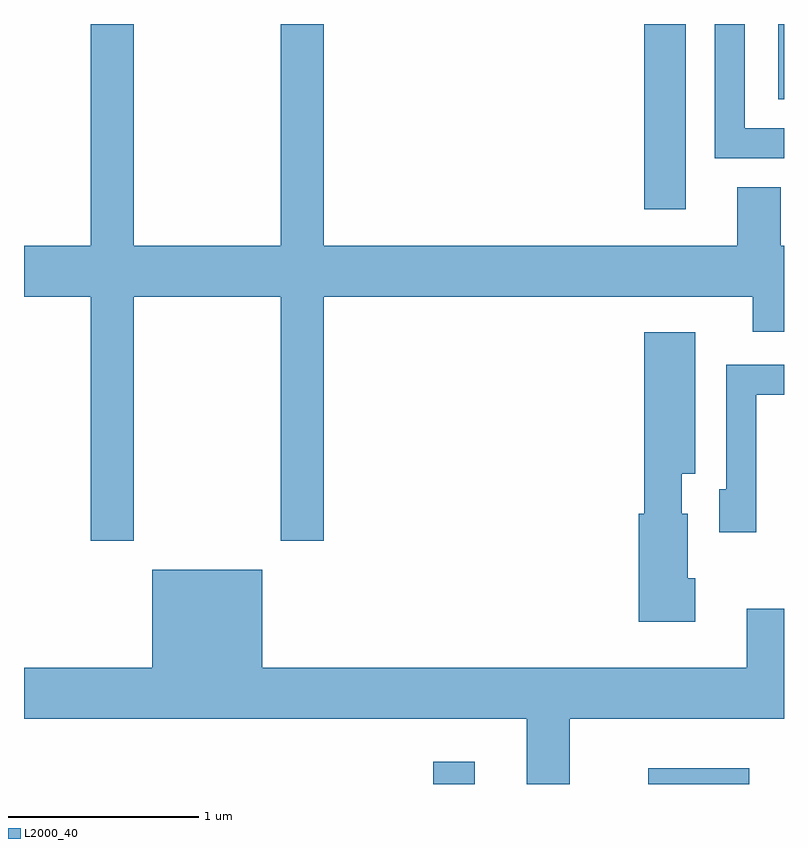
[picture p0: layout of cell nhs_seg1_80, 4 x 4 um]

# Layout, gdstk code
import gdstk
lib = gdstk.Library(unit=1e-6, precision=1e-09)
def R(c, l, rs):  # rectangles x0, y0, x1, y1
    for r in rs: c.add(gdstk.rectangle(r[:2], r[2:], *l))
def P(c, l, *ps):  # polygons
    for p in ps: c.add(gdstk.Polygon(p, *l))
L2000_40 = (2000, 40)

nhs_seg1_80 = lib.new_cell('nhs_seg1_80')
R(nhs_seg1_80, L2000_40, [(189.766,863.712,189.984,863.829), (190.896,863.712,191.428,863.794), (190.876,866.736,191.094,867.712), (191.581,867.316,191.611,867.712)])
P(nhs_seg1_80, L2000_40, [(188.189,866.276),(188.961,866.276),(188.961,864.991),(189.189,864.991),(189.189,866.276),(191.446,866.276),(191.446,866.091),(191.611,866.091),(191.611,866.544),(191.594,866.544),(191.594,866.854),(191.366,866.854),(191.366,866.544),(189.189,866.544),(189.189,867.712),(188.961,867.712),(188.961,866.544),(188.189,866.544),(188.189,867.712),(187.961,867.712),(187.961,866.544),(187.611,866.544),(187.611,866.276),(187.961,866.276),(187.961,864.991),(188.189,864.991)],
  [(191.611,867.164),(191.404,867.164),(191.404,867.712),(191.246,867.712),(191.246,867.006),(191.611,867.006)],
  [(191.144,864.794),(191.104,864.794),(191.104,865.134),(191.074,865.134),(191.074,865.346),(191.144,865.346),(191.144,866.089),(190.876,866.089),(190.876,865.134),(190.846,865.134),(190.846,864.566),(191.144,864.566)],
  [(191.464,865.761),(191.611,865.761),(191.611,865.919),(191.306,865.919),(191.306,865.264),(191.271,865.264),(191.271,865.036),(191.464,865.036)],
  [(190.484,864.056),(191.611,864.056),(191.611,864.634),(191.416,864.634),(191.416,864.324),(188.864,864.324),(188.864,864.839),(188.286,864.839),(188.286,864.324),(187.611,864.324),(187.611,864.056),(190.256,864.056),(190.256,863.712),(190.484,863.712)])

lib.write_gds('nhs_seg1_80.gds')
